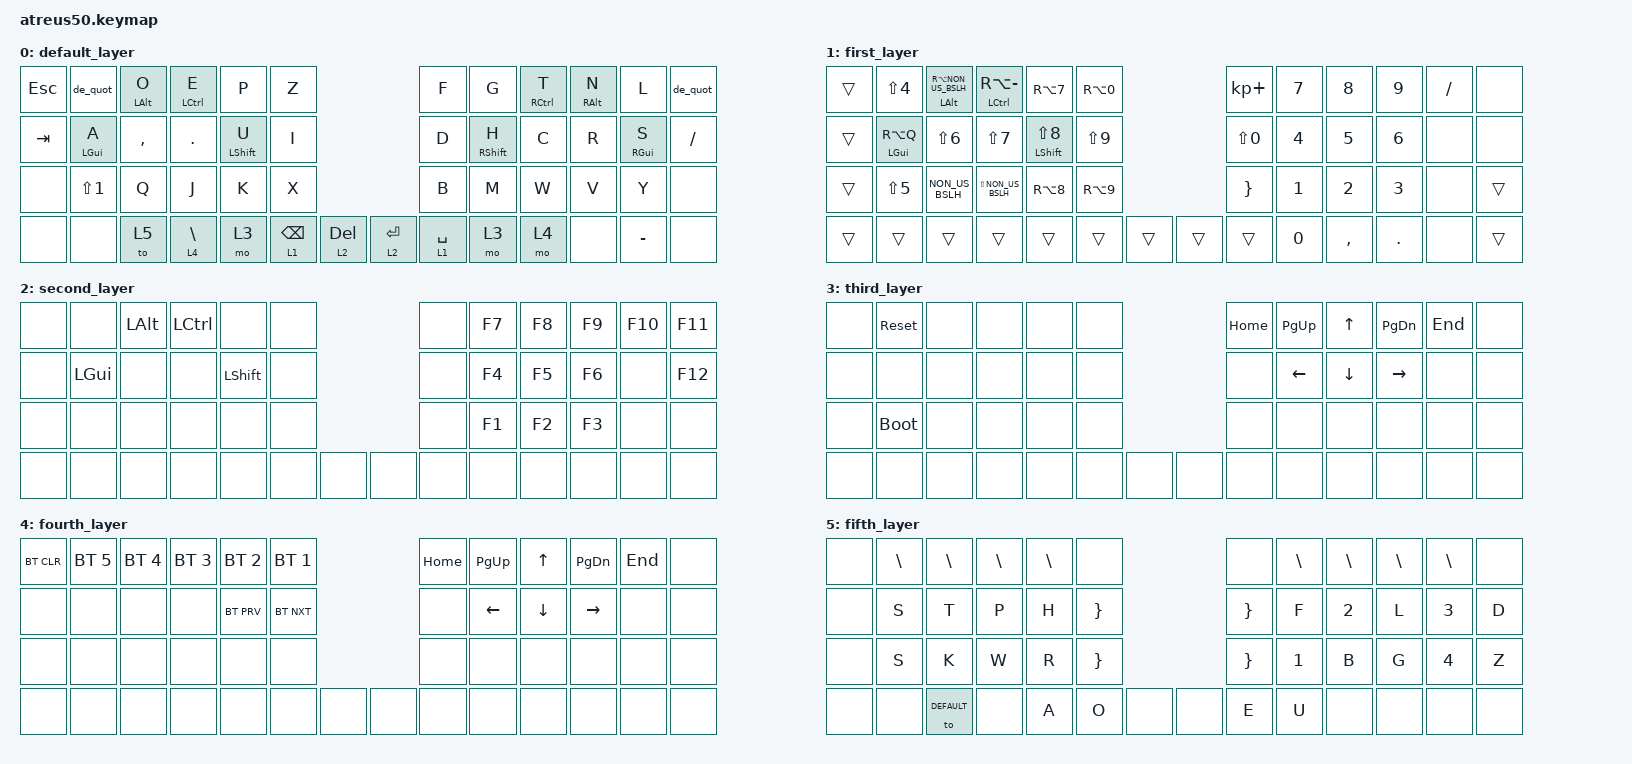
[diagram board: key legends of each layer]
/*
 * Copyright (c) 2020 The ZMK Contributors
 *
 * SPDX-License-Identifier: MIT
 */

#include <behaviors.dtsi>
#include <dt-bindings/zmk/keys.h>
#include <dt-bindings/zmk/bt.h>
#include <dt-bindings/zmk/outputs.h>
#include <dt-bindings/zmk/ext_power.h>

#define DEFAULT 0
#define L1 1
#define L2 2
#define L3 3  // NUMBERs, F1-12..
#define L4 4  // SPECIAL
#define L5 5  // STENO
#define L6 6  // BL

#define AUML APOS
#define OUML SEMI
#define UUML LBKT
#define DE_SS MINUS
#define DE_MINS SLASH
#define DE_DLLR LS(N4)
#define DE_PCNT LS(N5)
#define DE_AMPSD LS(N6)
#define DE_FSLH LS(N7)
#define DE_PLUS LS(RBRC)
#define DE_STAR RBRC
#define DE_EQUL LS(N0)
#define DE_AT RA(Q)
#define DE_HASH BSLH
#define DE_LT NON_US_BSLH
#define DE_GT LS(NON_US_BSLH)
#define DE_PIPE RA(NON_US_BSLH)
#define DE_BSLH RA(MINUS)
#define DE_EXCL LS(N1)

&lt {
        tapping-term-ms = <250>;
        quick_tap_ms = <400>;
        flavor = "tap-preferred";
    };
&caps_word {
    continue-list = <UNDERSCORE MINUS>;
};

/ {

    behaviors {
        hm: homerow_mods {
            compatible = "zmk,behavior-hold-tap";
            label = "HOMEROW_MODS";
            #binding-cells = <2>;
            bindings = <&kp>, <&kp>;
            tapping-term-ms = <220>;
            flavor = "tap-preferred";
        };
        hs: homerow_shift {
            compatible = "zmk,behavior-hold-tap";
            label = "HOMEROW_SHIFT";
            #binding-cells = <2>;
            bindings = <&kp>, <&kp>;
            tapping-term-ms = <200>;
            flavor = "balanced";
        };
        de_quot: german_quote_doublequote {
            compatible = "zmk,behavior-mod-morph";
            label = "DE_QUOTES";
            #binding-cells = <0>;
            bindings = <&kp LS(BSLH)>, <&kp LS(N2)>;
            mods = <(MOD_LSFT|MOD_RSFT)>;
        };
    };


    combos {
        compatible = "zmk,combos";
        combo_auml {
            timeout-ms = <50>;
            key-positions = <13 15>;
            bindings = <&kp AUML>;
        };
        combo_ouml {
            timeout-ms = <50>;
            key-positions = <2 15>;
            bindings = <&kp OUML>;
        };
        combo_uuml {
            timeout-ms = <50>;
            key-positions = <15 16>;
            bindings = <&kp UUML>;
        };
        combo_sz {
            timeout-ms = <50>;
            key-positions = <20 22>;
            bindings = <&kp DE_SS>;
        };
        combo_caps_word {
            timeout-ms = <50>;
            key-positions = <16 19>;
            bindings = <&caps_word>;
        };
        combo_esc {
            timeout-ms = <50>;
            key-positions = <2 3>;
            bindings = <&kp ESC>;
        };
        combo_tab {
            timeout-ms = <50>;
            key-positions = <14 15>;
            bindings = <&kp TAB>;
        };
    };


    keymap {
        compatible = "zmk,keymap";

        default_layer {
            bindings = <
    &kp ESC  &de_quot    &hm LALT O &hm LCTL E     &kp P       &kp Z                                 &kp F        &kp G       &hm RCTL T &hm RALT N &kp L      &de_quot
    &kp TAB  &hm LGUI A  &kp COMMA  &kp DOT        &hs LSHFT U &kp I                                 &kp D        &hs RSHFT H &kp C      &kp R      &hm RGUI S &kp DE_MINS
    &none    &kp DE_EXCL &kp Q      &kp J          &kp K       &kp X                                 &kp B        &kp M       &kp W      &kp V      &kp Y      &none
    &none    &none       &to L5     &lt L4 DE_HASH &mo L3      &lt L1 BSPC  &lt L2 DEL &lt L2 ENTER  &lt L1 SPACE &mo L3      &mo L4     &none      &kp DE_SS  &none
            >;
        };

        first_layer {
          bindings = <
    &trans &kp DE_DLLR    &hm LALT DE_PIPE &hm LCTL DE_BSLH &kp RA(N7)       &kp RA(N0)                    &kp KP_PLUS &kp N7 &kp N8    &kp N9  &kp DE_MINS &none
    &trans &hm LGUI DE_AT &kp DE_AMPSD     &kp DE_FSLH      &hs LSHFT LS(N8) &kp LS(N9)                    &kp DE_EQUL &kp N4 &kp N5    &kp N6  &none       &none
    &trans &kp DE_PCNT    &kp DE_LT        &kp DE_GT        &kp RA(N8)       &kp RA(N9)                    &kp DE_STAR &kp N1 &kp N2    &kp N3  &none       &trans
    &trans &trans         &trans           &trans           &trans            &trans    &trans    &trans   &trans      &kp N0 &kp COMMA &kp DOT &none       &trans
          >;
        };

        second_layer {
          bindings = <
    &none &none    &kp LALT &kp LCTL &none     &none                     &none &kp F7 &kp F8 &kp F9 &kp F10 &kp F11
    &none &kp LGUI &none    &none    &kp LSHFT &none                     &none &kp F4 &kp F5 &kp F6 &none   &kp F12
    &none &none    &none    &none    &none     &none                     &none &kp F1 &kp F2 &kp F3 &none   &none
    &none &none    &none    &none    &none     &none  &none       &none  &none &none  &none  &none  &none   &none
          >;
        };
        third_layer {
          bindings = <
    &none &sys_reset  &none &none &none &none                     &kp HOME &kp PG_UP &kp UP   &kp PG_DN &kp END &none
    &none &none       &none &none &none &none                     &none    &kp LEFT  &kp DOWN &kp RIGHT &none   &none
    &none &bootloader &none &none &none &none                     &none    &none     &none    &none     &none   &none
    &none &none       &none &none &none &none  &none       &none  &none    &none     &none    &none     &none   &none
          >;
        };
        fourth_layer {
          bindings = <
    &bt BT_CLR &bt BT_SEL 5 &bt BT_SEL 4 &bt BT_SEL 3 &bt BT_SEL 2 &bt BT_SEL 1              &kp HOME &kp PG_UP &kp UP   &kp PG_DN &kp END &none
    &none      &none        &none        &none        &bt BT_PRV   &bt BT_NXT                &none    &kp LEFT  &kp DOWN &kp RIGHT &none   &none
    &none      &none        &none        &none        &none        &none                     &none    &none     &none    &none     &none   &none
    &none      &none        &none        &none        &none        &none  &none       &none  &none    &none     &none    &none     &none   &none
          >;
        };

      fifth_layer {
          bindings = <
    &none &kp DE_HASH &kp DE_HASH &kp DE_HASH &kp DE_HASH &none                        &none       &kp DE_HASH &kp DE_HASH &kp DE_HASH &kp DE_HASH &none
    &none &kp S       &kp T       &kp P       &kp H       &kp DE_STAR                  &kp DE_STAR &kp F       &kp N2      &kp L       &kp N3      &kp D
    &none &kp S       &kp K       &kp W       &kp R       &kp DE_STAR                  &kp DE_STAR &kp N1      &kp B       &kp G       &kp N4      &kp Z
    &none &none       &to DEFAULT &none       &kp A       &kp O       &none     &none  &kp E       &kp U       &none       &none       &none       &none
          >;
        };
    };
};

